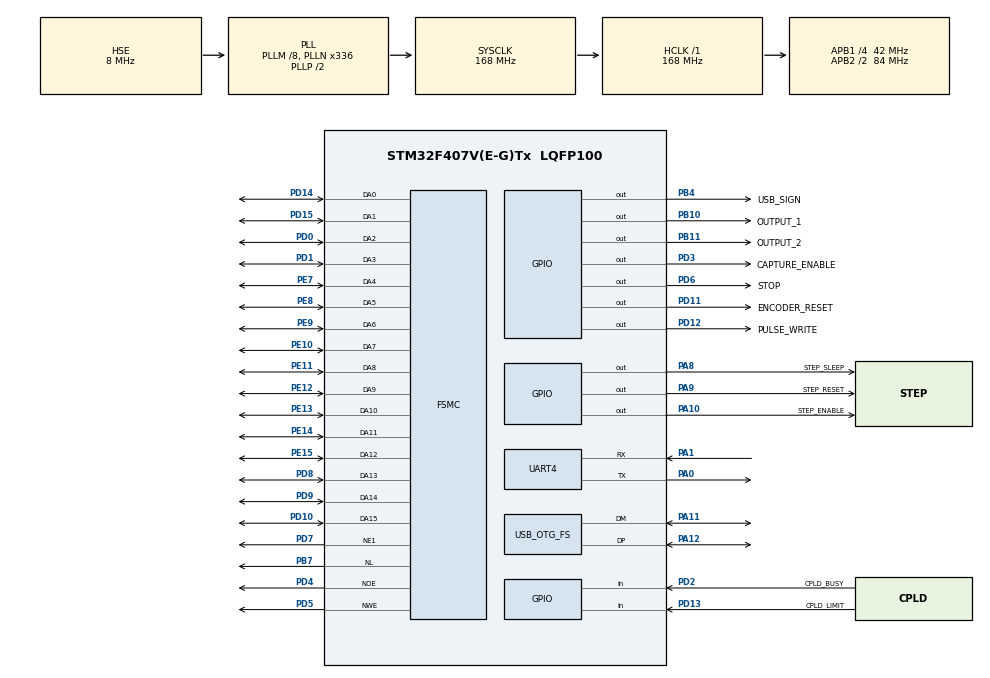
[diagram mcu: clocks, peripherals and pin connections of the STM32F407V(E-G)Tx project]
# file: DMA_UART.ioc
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Dma.Request0=UART4_TX
Dma.UART4_TX.0.Direction=DMA_MEMORY_TO_PERIPH
Dma.UART4_TX.0.FIFOMode=DMA_FIFOMODE_DISABLE
Dma.UART4_TX.0.Instance=DMA1_Stream4
Dma.UART4_TX.0.MemDataAlignment=DMA_MDATAALIGN_BYTE
Dma.UART4_TX.0.MemInc=DMA_MINC_ENABLE
Dma.UART4_TX.0.Mode=DMA_NORMAL
Dma.UART4_TX.0.PeriphDataAlignment=DMA_PDATAALIGN_BYTE
Dma.UART4_TX.0.PeriphInc=DMA_PINC_DISABLE
Dma.UART4_TX.0.Priority=DMA_PRIORITY_LOW
FREERTOS.Mutexes01=usbTxMutex,Dynamic,NULL
FREERTOS.Tasks01=defaultTask,2,2048,StartDefaultTask,Default,NULL,Dynamic,NULL,NULL;USB_RX_Check_,0,1024,Start_USB_RX_Task,Default,NULL,Dynamic,NULL,NULL
FREERTOS.configMINIMAL_STACK_SIZE=256
FSMC.WriteOperation1=FSMC_WRITE_OPERATION_ENABLE
Mcu.Family=STM32F4
Mcu.Name=STM32F407V(E-G)Tx
Mcu.Package=LQFP100
NVIC.DMA1_Stream4_IRQn=true\:5\:0\:false\:false\:true\:true\:false\:true
NVIC.OTG_FS_IRQn=true\:5\:0\:false\:false\:true\:true\:false\:true
NVIC.PriorityGroup=NVIC_PRIORITYGROUP_4
NVIC.TIM6_DAC_IRQn=true\:0\:0\:false\:false\:true\:false\:false\:true
NVIC.TIM7_IRQn=true\:5\:0\:false\:false\:true\:true\:true\:true
NVIC.TimeBase=TIM6_DAC_IRQn
NVIC.TimeBaseIP=TIM6
NVIC.UART4_IRQn=true\:5\:0\:false\:false\:true\:true\:true\:true
PA0-WKUP.Mode=Asynchronous
PA0-WKUP.Signal=UART4_TX
PA1.Mode=Asynchronous
PA1.Signal=UART4_RX
PA10.GPIO_Label=STEP_ENABLE
PA10.Signal=GPIO_Output
PA11.Mode=Device_Only
PA11.Signal=USB_OTG_FS_DM
PA12.Mode=Device_Only
PA12.Signal=USB_OTG_FS_DP
PA13.Mode=Serial_Wire
PA13.Signal=SYS_JTMS-SWDIO
PA14.Mode=Serial_Wire
PA14.Signal=SYS_JTCK-SWCLK
PA8.GPIO_Label=STEP_SLEEP
PA8.Signal=GPIO_Output
PA9.GPIO_Label=STEP_RESET
PA9.Signal=GPIO_Output
PB10.GPIO_Label=OUTPUT_1
PB10.Signal=GPIO_Output
PB11.GPIO_Label=OUTPUT_2
PB11.Signal=GPIO_Output
PB4.GPIO_Label=USB_SIGN
PB4.Signal=GPIO_Output
PB7.Signal=FSMC_NL
PD0.Mode=16b-da1
PD0.Signal=FSMC_DA2
PD1.Mode=16b-da1
PD1.Signal=FSMC_DA3
PD10.Mode=16b-da1
PD10.Signal=FSMC_DA15
PD11.GPIO_Label=ENCODER_RESET
PD11.GPIO_Speed=GPIO_SPEED_FREQ_LOW
PD11.Signal=GPIO_Output
PD12.GPIO_Label=PULSE_WRITE
PD12.GPIO_Speed=GPIO_SPEED_FREQ_VERY_HIGH
PD12.Signal=GPIO_Output
PD13.GPIO_Label=CPLD_LIMIT
PD13.GPIO_PuPd=GPIO_PULLUP
PD13.Signal=GPIO_Input
PD14.Mode=16b-da1
PD14.Signal=FSMC_DA0
PD15.Mode=16b-da1
PD15.Signal=FSMC_DA1
PD2.GPIO_Label=CPLD_BUSY
PD2.GPIO_PuPd=GPIO_PULLUP
PD2.Signal=GPIO_Input
PD3.GPIO_Label=CAPTURE_ENABLE
PD3.Signal=GPIO_Output
PD4.Mode=MuxedNorFlash1
PD4.Signal=FSMC_NOE
PD5.Mode=MuxedNorFlash1
PD5.Signal=FSMC_NWE
PD6.GPIO_Label=STOP
PD6.Signal=GPIO_Output
PD7.Mode=NorPsramChipSelect1_1
PD7.Signal=FSMC_NE1
PD8.Mode=16b-da1
PD8.Signal=FSMC_DA13
PD9.Mode=16b-da1
PD9.Signal=FSMC_DA14
PE10.Mode=16b-da1
PE10.Signal=FSMC_DA7
PE11.Mode=16b-da1
PE11.Signal=FSMC_DA8
PE12.Mode=16b-da1
PE12.Signal=FSMC_DA9
PE13.Mode=16b-da1
PE13.Signal=FSMC_DA10
PE14.Mode=16b-da1
PE14.Signal=FSMC_DA11
PE15.Mode=16b-da1
PE15.Signal=FSMC_DA12
PE7.Mode=16b-da1
PE7.Signal=FSMC_DA4
PE8.Mode=16b-da1
PE8.Signal=FSMC_DA5
PE9.Mode=16b-da1
PE9.Signal=FSMC_DA6
PH0-OSC_IN.Mode=HSE-External-Oscillator
PH0-OSC_IN.Signal=RCC_OSC_IN
PH1-OSC_OUT.Mode=HSE-External-Oscillator
PH1-OSC_OUT.Signal=RCC_OSC_OUT
ProjectManager.HeapSize=0x200
ProjectManager.StackSize=0x400
ProjectManager.TargetToolchain=STM32CubeIDE
RCC.48MHZClocksFreq_Value=48000000
RCC.AHBFreq_Value=168000000
RCC.APB1CLKDivider=RCC_HCLK_DIV4
RCC.APB1Freq_Value=42000000
RCC.APB1TimFreq_Value=84000000
RCC.APB2CLKDivider=RCC_HCLK_DIV2
RCC.APB2Freq_Value=84000000
RCC.APB2TimFreq_Value=168000000
RCC.CortexFreq_Value=168000000
RCC.HCLKFreq_Value=168000000
RCC.HSE_VALUE=8000000
RCC.HSI_VALUE=16000000
RCC.LSE_VALUE=32768
RCC.PLLM=8
RCC.PLLN=336
RCC.PLLQ=7
RCC.SYSCLKFreq_VALUE=168000000
RCC.SYSCLKSource=RCC_SYSCLKSOURCE_PLLCLK
RCC.VCOOutputFreq_Value=336000000
SH.FSMC_NL.0=FSMC_NL,AddressValid1
TIM7.Period=9999
TIM7.Prescaler=83
UART4.VirtualMode=Asynchronous
USB_DEVICE.CLASS_NAME_FS=CDC
USB_DEVICE.VirtualMode-CDC_FS=Cdc
USB_DEVICE.VirtualModeFS=Cdc_FS
USB_OTG_FS.VirtualMode=Device_Only
VP_FREERTOS_VS_CMSIS_V1.Mode=CMSIS_V1
VP_SYS_VS_tim6.Mode=TIM6
VP_TIM7_VS_ClockSourceINT.Mode=Enable_Timer
VP_USB_DEVICE_VS_USB_DEVICE_CDC_FS.Mode=CDC_FS
board=custom

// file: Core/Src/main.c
/* USER CODE BEGIN Header */
/**
  ******************************************************************************
  * @file           : main.c
  * @brief          : Main program body
  ******************************************************************************
  * @attention
  *
  * <h2><center>&copy; Copyright (c) 2020 STMicroelectronics.
  * All rights reserved.</center></h2>
  *
  * This software component is licensed by ST under BSD 3-Clause license,
  * the "License"; You may not use this file except in compliance with the
  * License. You may obtain a copy of the License at:
  *                        opensource.org/licenses/BSD-3-Clause
  *
  ******************************************************************************
  */
/* USER CODE END Header */

#include "main.h"
#include "cmsis_os.h"
#include "dma.h"
#include "tim.h"
#include "usart.h"
#include "usb_device.h"
#include "gpio.h"
#include "fsmc.h"

/* USER CODE BEGIN Includes */
#include "stdio.h"
#include "string.h"
#include "robot_lowlayer.h"
/* USER CODE END Includes */

void SystemClock_Config(void);
void MX_FREERTOS_Init(void);

int main(void)
{

  /* MCU Configuration--------------------------------------------------------*/

  /* Reset of all peripherals, Initializes the Flash interface and the Systick. */
  HAL_Init();

  /* Configure the system clock */
  SystemClock_Config();

  /* Initialize all configured peripherals */
  MX_GPIO_Init();
  MX_DMA_Init();
  MX_UART4_Init();
  MX_FSMC_Init();
  MX_TIM7_Init();
  /* USER CODE BEGIN 2 */
//  HAL_GPIO_WritePin(CAPTURE_ENABLE_GPIO_Port, CAPTURE_ENABLE_Pin, RESET);
//  int32_t enc_0, enc_1, enc_2;
  //int32_t cap_0, cap_1, cap_2;
//  uint8_t lim0, lim1, lim2, lim3 , lim_regiter;
  //char report[30];
  //uint32_t total_pulse = 0;
  //lowlayer_writePulse(0, 0, 0, 0);
  //HAL_Delay(10);
  /* USER CODE END 2 */

  /* Call init function for freertos objects (in freertos.c) */
  MX_FREERTOS_Init();

  /* Start scheduler */
  osKernelStart();

  /* We should never get here as control is now taken by the scheduler */

  /* Infinite loop */
  /* USER CODE BEGIN WHILE */
//  while( total_pulse < 9009) {
//		  if (HAL_GPIO_ReadPin(CPLD_BUSY_GPIO_Port, CPLD_BUSY_Pin) != GPIO_PIN_RESET) {
//			  while(1);// Error
//		  }
//  		  lowlayer_writePulse(0, 0, 9, 0);
//  		  if (HAL_GPIO_ReadPin(CPLD_BUSY_GPIO_Port, CPLD_BUSY_Pin) != GPIO_PIN_SET) {
//  			  while(1);// Error
//  		  }
//  		  total_pulse = total_pulse + 9;
//
//  		  HAL_Delay(10);
//  	  }
//  lowlayer_writePulse(0, 0, 0, 0);
//  __NOP();

  while (1)
  {
    /* USER CODE END WHILE */

    /* USER CODE BEGIN 3 */
//	  cap_0 = lowlayer_readCapture(0);
//	  cap_1 = lowlayer_readCapture(1);
//	  cap_2 = lowlayer_readCapture(2);
//	  sprintf(report, "%d %d %d \r\n", (int)cap_0, (int)cap_1, (int)cap_2);
//	  LOG_REPORT(report, __LINE__);
//	  HAL_Delay(300);
  }
  /* USER CODE END 3 */
}

void SystemClock_Config(void)
{
  RCC_OscInitTypeDef RCC_OscInitStruct = {0};
  RCC_ClkInitTypeDef RCC_ClkInitStruct = {0};

  /** Configure the main internal regulator output voltage
  */
  __HAL_RCC_PWR_CLK_ENABLE();
  __HAL_PWR_VOLTAGESCALING_CONFIG(PWR_REGULATOR_VOLTAGE_SCALE1);
  /** Initializes the CPU, AHB and APB busses clocks
  */
  RCC_OscInitStruct.OscillatorType = RCC_OSCILLATORTYPE_HSE;
  RCC_OscInitStruct.HSEState = RCC_HSE_ON;
  RCC_OscInitStruct.PLL.PLLState = RCC_PLL_ON;
  RCC_OscInitStruct.PLL.PLLSource = RCC_PLLSOURCE_HSE;
  RCC_OscInitStruct.PLL.PLLM = 8;
  RCC_OscInitStruct.PLL.PLLN = 336;
  RCC_OscInitStruct.PLL.PLLP = RCC_PLLP_DIV2;
  RCC_OscInitStruct.PLL.PLLQ = 7;
  if (HAL_RCC_OscConfig(&RCC_OscInitStruct) != HAL_OK)
  {
    Error_Handler();
  }
  /** Initializes the CPU, AHB and APB busses clocks
  */
  RCC_ClkInitStruct.ClockType = RCC_CLOCKTYPE_HCLK|RCC_CLOCKTYPE_SYSCLK
                              |RCC_CLOCKTYPE_PCLK1|RCC_CLOCKTYPE_PCLK2;
  RCC_ClkInitStruct.SYSCLKSource = RCC_SYSCLKSOURCE_PLLCLK;
  RCC_ClkInitStruct.AHBCLKDivider = RCC_SYSCLK_DIV1;
  RCC_ClkInitStruct.APB1CLKDivider = RCC_HCLK_DIV4;
  RCC_ClkInitStruct.APB2CLKDivider = RCC_HCLK_DIV2;

  if (HAL_RCC_ClockConfig(&RCC_ClkInitStruct, FLASH_LATENCY_5) != HAL_OK)
  {
    Error_Handler();
  }
}

void HAL_TIM_PeriodElapsedCallback(TIM_HandleTypeDef *htim)
{
  if (htim->Instance == TIM6) {
    HAL_IncTick();
  }
}

void Error_Handler(void)
{
}

/************************ (C) COPYRIGHT STMicroelectronics *****END OF FILE****/

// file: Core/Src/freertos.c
/* USER CODE BEGIN Header */
/**
  ******************************************************************************
  * File Name          : freertos.c
  * Description        : Code for freertos applications
  ******************************************************************************
  * @attention
  *
  * <h2><center>&copy; Copyright (c) 2020 STMicroelectronics.
  * All rights reserved.</center></h2>
  *
  * This software component is licensed by ST under Ultimate Liberty license
  * SLA0044, the "License"; You may not use this file except in compliance with
  * the License. You may obtain a copy of the License at:
  *                             www.st.com/SLA0044
  *
  ******************************************************************************
  */
/* USER CODE END Header */

#include "FreeRTOS.h"
#include "task.h"
#include "main.h"
#include "cmsis_os.h"

/* USER CODE BEGIN Includes */
#include "tim.h"
#include <stdio.h>
#include <string.h>
#include <malloc.h>
#include "dma.h"
#include "usart.h"
#include "common_def.h"
#include "ringbuffer.h"
#include "robot_scara.h"
#include "robot_lowlayer.h"
#include "command_respond.h"
#include "kinematic.h"
#include "communicate_payload.h"
#include "usbd_cdc_if.h"
#include "gpio.h"
/* USER CODE END Includes */

/* USER CODE BEGIN Variables */

extern RINGBUFFER_TypeDef 			usb_rx_ringbuff;
extern RINGBUFFER_TypeDef 			cmd_tx_ringbuff;
extern const char 					*DETAIL_STATUS[NUM_OF_STATUS];
extern SCARA_PositionTypeDef		positionPrevios;
extern SCARA_PositionTypeDef		positionCurrent;
extern SCARA_PositionTypeDef		positionNext;
extern SCARA_PositionTypeDef		positionTrue;

extern TIM_HandleTypeDef htim7;
osMailQId commandMailHandle;
/* USER CODE END Variables */
osThreadId defaultTaskHandle;
osThreadId USB_RX_Check_Handle;
osMutexId usbTxMutexHandle;

void StartDefaultTask(void const * argument);
void Start_USB_RX_Task(void const * argument);

extern void MX_USB_DEVICE_Init(void);
void MX_FREERTOS_Init(void); /* (MISRA C 2004 rule 8.1) */

/* GetIdleTaskMemory prototype (linked to static allocation support) */
void vApplicationGetIdleTaskMemory( StaticTask_t **ppxIdleTaskTCBBuffer, StackType_t **ppxIdleTaskStackBuffer, uint32_t *pulIdleTaskStackSize );

/* USER CODE BEGIN GET_IDLE_TASK_MEMORY */
static StaticTask_t xIdleTaskTCBBuffer;
static StackType_t xIdleStack[configMINIMAL_STACK_SIZE];

void vApplicationGetIdleTaskMemory( StaticTask_t **ppxIdleTaskTCBBuffer, StackType_t **ppxIdleTaskStackBuffer, uint32_t *pulIdleTaskStackSize )
{
  *ppxIdleTaskTCBBuffer = &xIdleTaskTCBBuffer;
  *ppxIdleTaskStackBuffer = &xIdleStack[0];
  *pulIdleTaskStackSize = configMINIMAL_STACK_SIZE;
  /* place for user code */
}
/* USER CODE END GET_IDLE_TASK_MEMORY */

void MX_FREERTOS_Init(void) {

  /* Create the mutex(es) */
  /* definition and creation of usbTxMutex */
  osMutexDef(usbTxMutex);
  usbTxMutexHandle = osMutexCreate(osMutex(usbTxMutex));

  /* USER CODE BEGIN RTOS_QUEUES */
  /* add queues, ... */
	  /* Create the queue(s) */
	  /* definition and creation of commandMail */
	  osMailQDef(commandMail, 1, DUTY_Command_TypeDef);
	  commandMailHandle = osMailCreate(osMailQ(commandMail), NULL);

  /* USER CODE END RTOS_QUEUES */

  /* Create the thread(s) */
  /* definition and creation of defaultTask */
  osThreadDef(defaultTask, StartDefaultTask, osPriorityHigh, 0, 2048);
  defaultTaskHandle = osThreadCreate(osThread(defaultTask), NULL);

  /* definition and creation of USB_RX_Check_ */
  osThreadDef(USB_RX_Check_, Start_USB_RX_Task, osPriorityNormal, 0, 1024);
  USB_RX_Check_Handle = osThreadCreate(osThread(USB_RX_Check_), NULL);

}

void StartDefaultTask(void const * argument)
{
  /* init code for USB_DEVICE */
  MX_USB_DEVICE_Init();
  /* USER CODE BEGIN StartDefaultTask */
  HAL_GPIO_WritePin(USB_SIGN_GPIO_Port, USB_SIGN_Pin, GPIO_PIN_SET); // Pull-up Resistor

  osEvent 				ret_mail;
  DUTY_Command_TypeDef 	duty_cmd;
  DUTY_Command_TypeDef 	*dataMail;
  uint8_t 				isNewDuty = FALSE;

  // Report buffer;
  uint8_t				respond[40];
  int32_t				respond_lenght;
  uint8_t				position[135];
  uint8_t				infor[145];
  int32_t				infor_lenght;
  uint8_t				task_usb[150];
  int32_t				task_usb_lenght;

  uint8_t				respond_packed[50];
  int32_t				respond_packed_lenght;
  uint8_t				infor_packed[150];
  int32_t				infor_packed_lenght;
  uint8_t				usb_buff[350];
  int32_t				usb_lenght;
  // Debug variables
  //uint32_t total_pulse = 0;

  // Robot variables
  SCARA_MethodTypeDef		current_method;
  SCARA_ModeTypeDef			current_mode;
  SCARA_DutyStateTypeDef 	current_duty_state;
  SCARA_ScanStateTypeDef	current_scan_state;
  SCARA_KeyStateTypeDef		current_key_state;
  SCARA_KeyTypeDef			current_key;
  int32_t					current_key_speed;
  double						run_time;

  LOG_REPORT("free_rtos.c: PROGRAM START...", __LINE__);

  // Init value
  current_method = scaraGetMethod();
  current_mode	 = scaraGetMode();
  current_duty_state	 = scaraGetDutyState();

  // Start up robot
  scaraStartup();
  osDelay(10);

  positionNext.Theta1 = -PI/3;
  positionNext.Theta2 = PI/3;
  positionNext.D3 = 10;
  positionNext.Theta4 = 0;
  positionNext.t = 0;
  kinematicForward(&positionNext);
  /* Infinite loop */
//Start Timer 7
	  HAL_TIM_Base_Start_IT(&htim7);
  for(;;)
  {
	  /*---------Wait for Timer Trigger-----------*/
	  osSignalWait(0x01, osWaitForever); // Very Important
	  /* 1--- Reset Value ---*/
	  respond_lenght		= 0;
	  respond_packed_lenght = 0;
	  infor_lenght			= 0;
	  infor_packed_lenght	= 0;
	  task_usb_lenght		= 0;
	  usb_lenght			= 0;
	  // Update new position
	  memcpy(&positionPrevios, &positionCurrent, sizeof(SCARA_PositionTypeDef));
	  memcpy(&positionCurrent, &positionNext, sizeof(SCARA_PositionTypeDef));
#ifndef SIMULATION
	  if(scaraIsScanLimit()) {
		  lowlayer_readTruePosition(&positionTrue);
		  kinematicForward(&positionTrue);
		  positionTrue.t = positionCurrent.t;
		  positionTrue.total_time = positionCurrent.total_time;
		  positionTrue.q = positionCurrent.q;
	  }
#endif
	  /* 2--- Check New Duty Phase ---*/
	  // Check mail
	  ret_mail = osMailGet(commandMailHandle, 0);
	  if ( ret_mail.status == osEventMail) {
		   dataMail = ret_mail.value.p;
		   memcpy( &duty_cmd, dataMail, sizeof(DUTY_Command_TypeDef));
		   isNewDuty = TRUE;
		   osMailFree(commandMailHandle, dataMail);/* free memory allocated for mail */
	  }
	  if(isNewDuty) {
		  memset(respond, 0, 40);
		  // Check change method
		  if (duty_cmd.change_method == TRUE) {
			  if (SCARA_METHOD_MANUAL == duty_cmd.robot_method) {
				  // Need add check condition idle in each method
				  current_method = SCARA_METHOD_MANUAL;
				  respond_lenght = commandRespond(RPD_OK,
												duty_cmd.id_command,
												"Changed MANUAL Method",
												(char *)respond);
			  } else if (SCARA_METHOD_SEMI_AUTO == duty_cmd.robot_method) {
				  current_method = SCARA_METHOD_SEMI_AUTO;
				  respond_lenght = commandRespond(RPD_OK,
												duty_cmd.id_command,
												"Changed SEMI AUTO Method",
												(char *)respond);
			  } else if (SCARA_METHOD_AUTO == duty_cmd.robot_method) {
				  current_method = SCARA_METHOD_AUTO;
				  respond_lenght = commandRespond(RPD_OK,
												duty_cmd.id_command,
												"Changed AUTO Method",
												(char *)respond);
			  }
		  } else {
			  	  // Check current method & cmd method
			  	  if (current_method == duty_cmd.robot_method) {
				  	  switch( duty_cmd.robot_method) {
				  	  case SCARA_METHOD_MANUAL:
				  	  {
				  		  if (current_key_state == SCARA_KEY_STATE_READY) {
				  			  current_key = duty_cmd.keyboard;
				  			  current_key_state = SCARA_KEY_STATE_INIT;// Init new path
				  			  current_key_speed = duty_cmd.key_speed;
				  		  } else if (current_key == duty_cmd.keyboard
				  				  	  && current_key_state == SCARA_KEY_STATE_FLOW
									  && current_key_speed == duty_cmd.key_speed) {
				  			  current_key_state = SCARA_KEY_STATE_INIT;// Continue old path
				  		  }
				  	  }
				  	  break;
				  	  case SCARA_METHOD_SEMI_AUTO:
				  	  {
						  switch( duty_cmd.robot_mode) {
						  case SCARA_MODE_STOP:
							  {
								  current_mode	 = SCARA_MODE_STOP;
								  respond_lenght = commandRespond(RPD_OK,
																  duty_cmd.id_command,
																  "Stop Now",
																  (char *)respond);
								  LOG_REPORT("ROBOT STOP !!!", __LINE__);
							  }
							  break;

						  case SCARA_MODE_SCAN:
							  {
								  if (SCARA_MODE_DUTY == current_mode
									  && SCARA_DUTY_STATE_READY == current_duty_state) {
									  current_mode = SCARA_MODE_SCAN;
									  current_scan_state = SCARA_SCAN_STATE_INIT;
									  respond_lenght = commandRespond(RPD_OK,
																	  duty_cmd.id_command,
																	  "Start Scan",
																	  (char *)respond);
								  } else {
									  respond_lenght = commandRespond(RPD_ERROR,
																	  duty_cmd.id_command,
																	  "Busy",
																	  (char *)respond);
									  LOG_REPORT("SCAN FAIL: BUSY", __LINE__);
								  }
							  }
							  break;

						  case SCARA_MODE_DUTY:
							  {
								  if (SCARA_MODE_DUTY == current_mode && SCARA_DUTY_STATE_READY == current_duty_state) {
									  if (scaraIsScanLimit()) {
										  current_mode	 = SCARA_MODE_DUTY;
										  current_duty_state	 = SCARA_DUTY_STATE_INIT;
									  } else {
										  respond_lenght = commandRespond(RPD_ERROR,
																		  duty_cmd.id_command,
																		  "Has Not Scan Yet.",
																		  (char *)respond);
										  LOG_REPORT("MOVE FAIL:NOT SCAN", __LINE__);
									  }
								  } else {
									  respond_lenght	= commandRespond(RPD_ERROR,
																		  duty_cmd.id_command,
																		  "Busy.",
																		  (char *)respond);
									  LOG_REPORT("MOVE FAIL:BUSY", __LINE__);
								  }
							  }
							  break;
						  default:
							  {
								  LOG_REPORT("CMD Error Mode !!!", __LINE__);
							  }
						  }
					  }
					  break;
				  	  case SCARA_METHOD_AUTO:
				  	  {

				  	  }
				  	  break;
				  	  default:
				  	  {
				  		  LOG_REPORT("CMD Error Method !!!", __LINE__);
				  	  }
				  	  }
			  	  } else {
					  respond_lenght = commandRespond(RPD_ERROR,
													duty_cmd.id_command,
													"METHOD isn't correct",
													(char *)respond);
			  	  }

			  }
		  isNewDuty = FALSE;
	  }

	  /* 3--- Execute Phase ---*/
	  switch(current_method) {
	  case SCARA_METHOD_MANUAL:
	  {
		  switch( current_key_state) {
		  case SCARA_KEY_STATE_READY:
			  /* Wait for application keyboard , do nothing*/
		  break;
		  case SCARA_KEY_STATE_INIT:
		  {
			  if (scaraKeyInit(current_key, current_key_speed, &run_time) == SCARA_STATUS_OK) {
				  current_key_state = SCARA_KEY_STATE_FLOW;
#ifdef SIMULATION
				  scaraPosition2String((char *)position, positionCurrent);
#else
				  scaraPosition2String((char *)position, positionTrue);
#endif
				  infor_lenght 		= commandRespond(RPD_START,
													  0,
													  (char *)position,
													  (char *)infor);
			  } else {
				  current_key_state = SCARA_KEY_STATE_READY;
			  }
		  }
		  break;
		  case SCARA_KEY_STATE_FLOW:
		  {
			  SCARA_StatusTypeDef status;
			  // Increase run time
			  run_time += T_SAMPLING;
			  // Check Time Out
			  if (scaraIsFinish(run_time)) {
				  current_key_state = SCARA_KEY_STATE_FINISH;// Key Done
			  } else {
				  status = scaraKeyFlow(run_time, &positionNext, positionCurrent);
				  if ( SCARA_STATUS_OK == status) {
					  lowlayer_computeAndWritePulse(positionCurrent, positionNext);
					  // Running Inform
#ifdef SIMULATION
					  scaraPosition2String((char *)position, positionCurrent);
#else
					  scaraPosition2String((char *)position, positionTrue);
#endif
					  infor_lenght = commandRespond(RPD_RUNNING,
													0,
													(char *)position,
													(char *)infor);
				  } else {
					  current_key_state = SCARA_KEY_STATE_FINISH;
					  // Critical
					  // If a error appear while Flowing, This is very important
					  infor_lenght = commandRespond(RPD_STOP,
													0,
													(char *)DETAIL_STATUS[status],
													(char *)infor);
					  LOG_REPORT("STOP KEY", __LINE__);
				  }
			  }
		  }
		  break;
		  case SCARA_KEY_STATE_FINISH:
		  {
			  current_key_state = SCARA_KEY_STATE_READY;
			  positionNext.t = 0;
			  positionNext.total_time = 0;
			  positionNext.q = 0;
		  }
		  break;
		  }
	  }
	  break;

	  case SCARA_METHOD_SEMI_AUTO:
	  {
		  switch( current_mode) {
		  case SCARA_MODE_STOP:
			  {
				  current_mode 	= SCARA_MODE_DUTY;
				  current_duty_state = SCARA_DUTY_STATE_READY;
			  }
			  break;

		  case SCARA_MODE_SCAN:
			  {
				  switch (current_scan_state) {
				  case SCARA_SCAN_STATE_INIT:
					  {
						  lowlayer_scanReset();
						  current_scan_state = SCARA_SCAN_STATE_HARD;
					  }
					  break;
				  case SCARA_SCAN_STATE_HARD:
					  {
						  if(lowlayer_scanFlow()) {
							  current_scan_state = SCARA_SCAN_STATE_SOFT;
						  }
					  }
					  break;
				  case SCARA_SCAN_STATE_SOFT:
					  {
						  if(lowlayer_goToSoftLimit(&positionNext)) {
							  current_scan_state = SCARA_SCAN_STATE_FINISH;
							}
					  }
					  break;
				  case SCARA_SCAN_STATE_FINISH:
					  {
						  lowlayer_readSetPosition(&positionNext);
						  current_mode 	= SCARA_MODE_DUTY;
						  current_duty_state = SCARA_DUTY_STATE_READY;
						  kinematicForward(&positionNext);
						  scaraSetScanFlag();
						  //Done Inform
						  scaraPosition2String((char *)position, positionNext);
						  infor_lenght 		= commandRespond(RPD_DONE,
															 0,
															(char *)position,
															(char *)infor);
					  }
					  break;
				  default:
					  {
						  LOG_REPORT("ERROR STATE !!!", __LINE__);
						  while(1);
					  }
				  }

			  }
			  break;

		  case SCARA_MODE_DUTY:
			  {
				  switch (current_duty_state) {
				  case SCARA_DUTY_STATE_READY:
					  {
						  // Do nothing();
						  __NOP();
					  }
				  break;

				  case SCARA_DUTY_STATE_INIT:
					  {
						  SCARA_StatusTypeDef status1, status2;
						  status1 = scaraInitDuty(duty_cmd);
						  if ( SCARA_STATUS_OK == status1) {
							  status2 = scaraTestDuty();
							  if (SCARA_STATUS_OK == status2) {
							  current_duty_state		= SCARA_DUTY_STATE_FLOW;
							  run_time			= 0;
							  // Respond
							  respond_lenght 	= commandRespond(RPD_OK,
																  duty_cmd.id_command,
																  (char *)DETAIL_STATUS[status1],
																  (char *)respond);
#ifdef SIMULATION
							  scaraPosition2String((char *)position, positionCurrent);
#else
							  scaraPosition2String((char *)position, positionTrue);
#endif
							  // Start Inform
							  infor_lenght 		= commandRespond(RPD_START,
																  0,
																  (char *)position,
																  (char *)infor);
							  } else {
								  current_duty_state 	= SCARA_DUTY_STATE_READY;
								  respond_lenght	= commandRespond(RPD_ERROR,
																	  duty_cmd.id_command,
																	  (char *)DETAIL_STATUS[status2],
																	  (char *)respond);
								  LOG_REPORT("TEST FAIL", __LINE__);
							  }
						  } else {
							  current_duty_state 	= SCARA_DUTY_STATE_READY;
							  respond_lenght	= commandRespond(RPD_ERROR,
																  duty_cmd.id_command,
																  (char *)DETAIL_STATUS[status1],
																  (char *)respond);
							  LOG_REPORT("INIT FAIL", __LINE__);
						  }
					  }
				  break;

				  case SCARA_DUTY_STATE_FLOW:
					  {
						  SCARA_StatusTypeDef status;
						  // Increase run time
						  run_time += T_SAMPLING;
						  // Check Time Out
						  if (scaraIsFinish(run_time)) {
							  current_duty_state = SCARA_DUTY_STATE_FINISH;// Work Done
						  } else {
							  status = scaraFlowDuty(run_time , &positionNext, positionCurrent);
							  if ( SCARA_STATUS_OK == status) {
								  lowlayer_computeAndWritePulse(positionCurrent, positionNext);
								  // Running Inform
#ifdef SIMULATION
								  scaraPosition2String((char *)position, positionCurrent);
#else
								  scaraPosition2String((char *)position, positionTrue);
#endif
								  infor_lenght = commandRespond(RPD_RUNNING,
																0,
																(char *)position,
																(char *)infor);
							  } else {
								  current_duty_state = SCARA_DUTY_STATE_FINISH;
								  // Critical
								  // If a error appear while Flowing, This is very important
								  infor_lenght = commandRespond(RPD_STOP,
																0,
																(char *)DETAIL_STATUS[status],
																(char *)infor);
								  LOG_REPORT("STOP DUTY", __LINE__);
							  }
						  }
					  }
				  break;

				  case SCARA_DUTY_STATE_FINISH:
					  {
						  current_duty_state = SCARA_DUTY_STATE_READY;
						  positionNext.t = 0;
						  positionNext.total_time = 0;
						  positionNext.q = 0;
						  // Done Inform
#ifdef SIMULATION
						  scaraPosition2String((char *)position, positionCurrent);
#else
						  scaraPosition2String((char *)position, positionTrue);
#endif
						  infor_lenght 		= commandRespond(RPD_DONE,
															 0,
															 (char *)position,
															 (char *)infor);
					  }
				  break;

				  default:
					  {
						  LOG_REPORT("ERROR STATE !!!", __LINE__);
						  while(1);
					  }
				  }

			  }
			  break;

		  default:
			  {
				  LOG_REPORT("ERROR MODE !!!", __LINE__);
				  while(1);
			  }
		  }
	  }
	  break;

	  case SCARA_METHOD_AUTO:
	  {

	  }

	  break;
	  default:
	  {

	  }
	  }

	  /* 4--- Send to PC Phase ---*/
	  // Check buffer from USB task
	  osMutexWait(usbTxMutexHandle, osWaitForever);
	  task_usb_lenght = ringBuff_PopArray(&cmd_tx_ringbuff, task_usb, RINGBUFFER_SIZE);
	  osMutexRelease(usbTxMutexHandle);
	  // Intergrate to 1 buffer
	  if (respond_lenght > 0) {
		  respond_packed_lenght = packPayload(respond, respond_packed, respond_lenght);
		  memcpy(usb_buff, respond_packed, respond_packed_lenght);
	  }
	  if (task_usb_lenght > 0) {
		  memcpy(usb_buff + respond_packed_lenght, task_usb, task_usb_lenght);
	  }
	  if (infor_lenght > 0) {
		  infor_packed_lenght 	= packPayload(infor, infor_packed, infor_lenght);
		  memcpy(usb_buff + respond_packed_lenght + task_usb_lenght, infor_packed, infor_packed_lenght);
	  }
	  usb_lenght = respond_packed_lenght + task_usb_lenght + infor_packed_lenght;
	  // Send through USB
	  if (usb_lenght > 0) {
		  CDC_Transmit_FS(usb_buff, (uint16_t)usb_lenght);
	  }

	  /* 5--- Update ---*/
	  scaraSetMethod(current_method);
	  scaraSetMode(current_mode);
	  scaraSetDutyState(current_duty_state);

    osDelay(1);
  }
  /* USER CODE END StartDefaultTask */
}

void Start_USB_RX_Task(void const * argument)
{
  /* USER CODE BEGIN Start_USB_RX_Task */
	int32_t distance;
	int32_t id_command;
	DUTY_Command_TypeDef 	duty_cmd;
	Robot_CommandTypedef 	cmd_type;
	Robot_RespondTypedef 	rpd_type;
	uint8_t			 	detail[135];
	uint8_t				respond[145];
	uint8_t				message[150];
	int32_t				respond_lenght;
	int32_t				message_lenght;

	// Default value
	duty_cmd.key_speed = 1;

  /* Infinite loop */
  for(;;)
  {
	  for(;;) {
		  distance = ringBuff_DistanceOf(&usb_rx_ringbuff, END_CHAR);
		  if ( -1 != distance ) {
			  uint8_t temp[distance+1];
			  int32_t ret;
			  ringBuff_PopArray(&usb_rx_ringbuff, temp, distance + 1);
			  ret = unPackPayload(temp, distance + 1);
			  if( -1 == ret) {
				  LOG_REPORT("UNPACK FAIL", __LINE__);
			  } else {
				  LOG_REPORT((char*) temp, __LINE__);
				  cmd_type = commandRead(temp, &id_command, &duty_cmd);
				  memset(detail, 0, sizeof(detail));
				  rpd_type = commandReply(cmd_type, duty_cmd, detail);

				  if ( RPD_DUTY == rpd_type) {
					  DUTY_Command_TypeDef *dataMail;
					  dataMail = NULL;
					  // Wait allocate
					  while (dataMail == NULL) {
						  dataMail = osMailAlloc(commandMailHandle, osWaitForever);
					  }
					  memcpy( dataMail, &duty_cmd, sizeof(DUTY_Command_TypeDef));
					  osStatus result;
					  result = osMailPut(commandMailHandle, dataMail);
					  if (osOK == result) {
						  //LOG_REPORT("DUTY SEND", __LINE__);
					  }

				  } else {
					  memset(respond, 0, sizeof(respond));
					  memset(message, 0, sizeof(message));
					  respond_lenght	= commandRespond(rpd_type, id_command,
							  	  	  	  (char *)detail,
										  (char *)respond);
					  message_lenght	= packPayload(respond, message, respond_lenght);
					  // Mutex
					  osMutexWait(usbTxMutexHandle, osWaitForever);
					  ringBuff_PushArray(&cmd_tx_ringbuff, message, message_lenght);
					  osMutexRelease(usbTxMutexHandle);
				  }
			  }
		  }
	  }
    osDelay(1);// Never go to this place
  }
  /* USER CODE END Start_USB_RX_Task */
}

/************************ (C) COPYRIGHT STMicroelectronics *****END OF FILE****/
